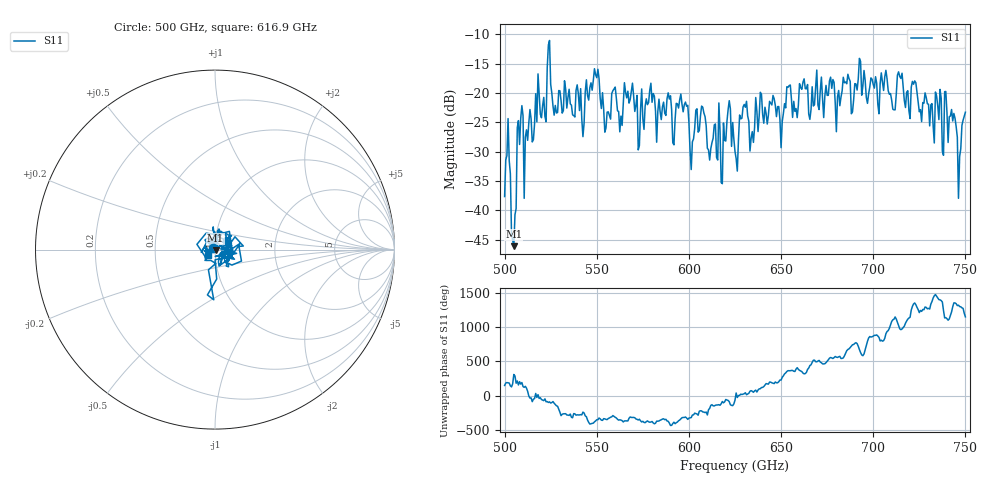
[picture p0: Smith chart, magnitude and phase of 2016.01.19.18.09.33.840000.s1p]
!Created with skrf (http://scikit-rf.org).
# GHz S RI R 50.0
!freq ReS11 ImS11
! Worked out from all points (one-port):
!   401 points, 500 GHz to 750 GHz, reference 50 ohm
!   lowest |S11| = -46.1 dB at 505 GHz (marker M1), VSWR 1.01, Z = 50.3 - j0.386 ohm
!   |S11| at or under -10 dB: start of sweep to end of sweep
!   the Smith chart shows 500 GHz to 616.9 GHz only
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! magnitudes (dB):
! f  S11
! 500 GHz  -37.6
! 501.9 GHz  -24.4
! 505 GHz  -46.1
! 508.1 GHz  -28.8
! 511.9 GHz  -26.3
! 524.4 GHz  -11.1
! 527.5 GHz  -22.1
! 531.2 GHz  -23.4
! 541.9 GHz  -24.5
! 550 GHz  -17.4
! 562.5 GHz  -26.6
! 593.8 GHz  -21.9
! 601.9 GHz  -28.3
! 607.5 GHz  -22.4
! 611.2 GHz  -31.4
! 618.8 GHz  -25.1
! 621.2 GHz  -22.9
! 625 GHz  -30.0
! 630 GHz  -22.0
! 634.4 GHz  -26.6
! 656.2 GHz  -24.2
! 687.5 GHz  -18.0
! 711.2 GHz  -22.9
! 714.4 GHz  -17.2
! 718.8 GHz  -19.6
! 735 GHz  -22.2
! 746.2 GHz  -37.9
! 750 GHz  -23.3
